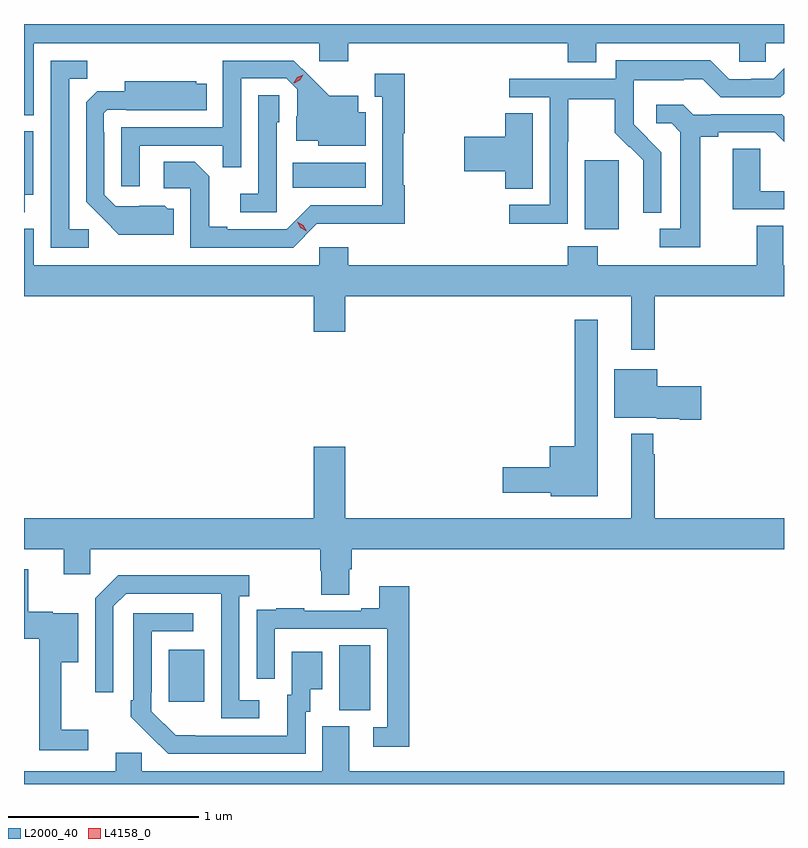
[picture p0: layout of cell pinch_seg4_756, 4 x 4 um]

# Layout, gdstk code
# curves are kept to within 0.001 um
import gdstk
lib = gdstk.Library(unit=1e-6, precision=1e-09)
def R(c, l, rs):  # rectangles x0, y0, x1, y1
    for r in rs: c.add(gdstk.rectangle(r[:2], r[2:], *l))
def P(c, l, *ps):  # polygons
    for p in ps: c.add(gdstk.Polygon(p, *l))
L2000_40 = (2000, 40)
L4158_0 = (4158, 0)

pinch_seg4_756 = lib.new_cell('pinch_seg4_756')
R(pinch_seg4_756, L2000_40, [(788.516,811.957,788.68,812.3), (787.619,812.001,787.807,812.275), (789.809,814.49,789.988,814.851), (788.272,814.706,788.656,814.84)])
P(pinch_seg4_756, L2000_40, [(786.91,815.468),(788.412,815.468),(788.412,815.373),(788.564,815.373),(788.564,815.468),(789.719,815.468),(789.719,815.369),(789.871,815.369),(789.871,815.468),(790.623,815.468),(790.623,815.37),(790.761,815.37),(790.761,815.468),(790.858,815.468),(790.858,815.569),(786.858,815.569),(786.858,815.09),(786.91,815.09)],
  [(789.72,814.948),(789.723,814.948),(789.723,815.172),(789.967,815.172),(789.967,814.997),(790.044,814.92),(790.047,814.923),(790.118,814.853),(790.118,814.73),(790.116,814.73),(790.116,814.576),(790.212,814.576),(790.212,814.894),(790.066,815.042),(790.066,815.139),(790.068,815.139),(790.068,815.273),(790.331,815.273),(790.331,815.277),(790.431,815.277),(790.524,815.184),(790.839,815.184),(790.858,815.203),(790.858,815.335),(790.803,815.28),(790.685,815.28),(790.685,815.277),(790.569,815.277),(790.469,815.377),(789.972,815.377),(789.972,815.28),(789.411,815.28),(789.411,815.184),(789.624,815.184),(789.624,814.617),(789.411,814.617),(789.411,814.519),(789.72,814.519)],
  [(787.198,814.488),(787.095,814.488),(787.095,815.281),(787.191,815.281),(787.191,815.376),(786.999,815.376),(786.999,814.392),(787.198,814.392)],
  [(787.467,814.929),(787.903,814.929),(787.903,814.816),(788.001,814.816),(788.001,815.283),(788.238,815.283),(788.295,815.226),(788.295,815.084),(788.291,815.084),(788.291,814.955),(788.406,814.955),(788.406,814.928),(788.656,814.928),(788.656,815.104),(788.617,815.104),(788.617,815.191),(788.465,815.191),(788.278,815.376),(787.905,815.376),(787.905,815.025),(787.371,815.025),(787.371,814.716),(787.467,814.716)],
  [(788.4,814.518),(788.863,814.517),(788.863,814.721),(788.855,814.721),(788.855,814.995),(788.863,814.995),(788.863,815.308),(788.705,815.308),(788.705,815.187),(788.744,815.187),(788.744,814.614),(788.367,814.614),(788.241,814.488),(787.927,814.488),(787.927,814.501),(787.833,814.501),(787.833,814.768),(787.757,814.844),(787.593,814.844),(787.593,814.704),(787.734,814.704),(787.734,814.392),(788.274,814.392)],
  [(787.645,814.596),(787.614,814.596),(787.598,814.612),(787.341,814.611),(787.281,814.671),(787.281,815),(787.278,815),(787.278,815.1),(787.296,815.118),(787.396,815.118),(787.396,815.114),(787.82,815.114),(787.82,815.254),(787.764,815.254),(787.764,815.269),(787.388,815.269),(787.388,815.215),(787.244,815.215),(787.185,815.156),(787.185,814.634),(787.357,814.46),(787.645,814.46)],
  [(788.187,815.052),(788.202,815.052),(788.202,815.195),(788.091,815.195),(788.091,814.675),(787.995,814.675),(787.995,814.578),(788.187,814.578)],
  [(790.417,814.976),(790.513,814.976),(790.513,814.998),(790.808,814.998),(790.858,814.948),(790.858,815.082),(790.846,815.094),(790.474,815.094),(790.474,815.091),(790.38,815.091),(790.328,815.143),(790.185,815.143),(790.185,815.046),(790.266,815.046),(790.313,814.999),(790.313,814.491),(790.203,814.491),(790.203,814.395),(790.417,814.395)],
  [(789.535,815.099),(789.392,815.099),(789.392,814.976),(789.174,814.976),(789.174,814.793),(789.392,814.793),(789.392,814.702),(789.535,814.702)],
  [(786.862,814.67),(786.907,814.67),(786.907,815.005),(786.858,815.005),(786.858,814.577),(786.862,814.577)],
  [(790.858,814.689),(790.734,814.689),(790.734,814.913),(790.589,814.913),(790.589,814.593),(790.858,814.593)],
  [(790.177,814.136),(790.858,814.136),(790.858,814.3),(790.855,814.3),(790.855,814.508),(790.715,814.508),(790.715,814.3),(789.879,814.3),(789.879,814.399),(789.719,814.399),(789.719,814.3),(788.564,814.3),(788.564,814.393),(788.412,814.393),(788.412,814.3),(786.91,814.3),(786.91,814.492),(786.858,814.492),(786.858,814.136),(788.384,814.136),(788.384,813.948),(788.548,813.948),(788.548,814.136),(790.055,814.136),(790.055,813.855),(790.177,813.855)],
  [(789.877,814.012),(789.756,814.012),(789.756,813.346),(789.626,813.346),(789.626,813.236),(789.378,813.236),(789.378,813.101),(789.63,813.101),(789.63,813.083),(789.877,813.083)],
  [(790.423,813.663),(790.192,813.663),(790.192,813.751),(789.965,813.751),(789.965,813.497),(790.188,813.497),(790.188,813.491),(790.31,813.491),(790.31,813.485),(790.423,813.485)],
  [(788.569,812.698),(788.582,812.698),(788.582,812.804),(790.858,812.804),(790.858,812.968),(790.177,812.968),(790.177,813.305),(790.169,813.305),(790.169,813.412),(790.055,813.412),(790.055,812.968),(788.548,812.968),(788.548,813.343),(788.384,813.343),(788.384,812.968),(786.858,812.968),(786.858,812.804),(787.067,812.804),(787.067,812.673),(787.206,812.673),(787.206,812.804),(788.417,812.804),(788.417,812.691),(788.422,812.691),(788.422,812.566),(788.569,812.566)],
  [(787.195,811.855),(787.055,811.855),(787.055,812.21),(787.144,812.21),(787.144,812.467),(787.008,812.467),(787.008,812.475),(786.88,812.475),(786.88,812.698),(786.858,812.698),(786.858,812.333),(786.937,812.333),(786.937,811.746),(787.195,811.746)],
  [(788.095,812.01),(787.992,812.01),(787.992,812.558),(788.044,812.558),(788.044,812.668),(787.354,812.668),(787.233,812.547),(787.233,812.052),(787.329,812.052),(787.329,812.505),(787.395,812.571),(787.895,812.571),(787.896,811.914),(788.095,811.914)],
  [(788.885,812.611),(788.729,812.611),(788.729,812.494),(788.633,812.494),(788.633,812.481),(788.333,812.481),(788.333,812.494),(788.185,812.494),(788.185,812.487),(788.083,812.487),(788.083,812.378),(788.082,812.378),(788.082,812.124),(788.178,812.124),(788.178,812.385),(788.769,812.385),(788.769,811.869),(788.697,811.869),(788.697,811.764),(788.885,811.764)],
  [(788.34,811.95),(788.365,811.95),(788.365,812.069),(788.428,812.069),(788.428,812.266),(788.267,812.266),(788.267,812.04),(788.243,812.04),(788.243,811.824),(787.656,811.825),(787.527,811.953),(787.527,812.053),(787.53,812.053),(787.53,812.373),(787.75,812.373),(787.75,812.469),(787.434,812.469),(787.434,812.011),(787.419,812.011),(787.419,811.923),(787.616,811.728),(788.34,811.728)],
  [(790.858,811.636),(788.569,811.636),(788.569,811.872),(788.429,811.872),(788.429,811.636),(787.479,811.636),(787.479,811.734),(787.34,811.734),(787.34,811.636),(786.858,811.636),(786.858,811.569),(790.858,811.569)])
P(pinch_seg4_756, L4158_0, [(788.345,814.478),(788.313,814.497),(788.296,814.529),(788.296,814.529),(788.296,814.529),(788.328,814.51),(788.345,814.478),(788.345,814.478)],
  [(788.279,815.258),(788.279,815.259),(788.296,815.288),(788.327,815.303),(788.327,815.303),(788.327,815.303),(788.31,815.274),(788.28,815.258)])

lib.write_gds('pinch_seg4_756.gds')
